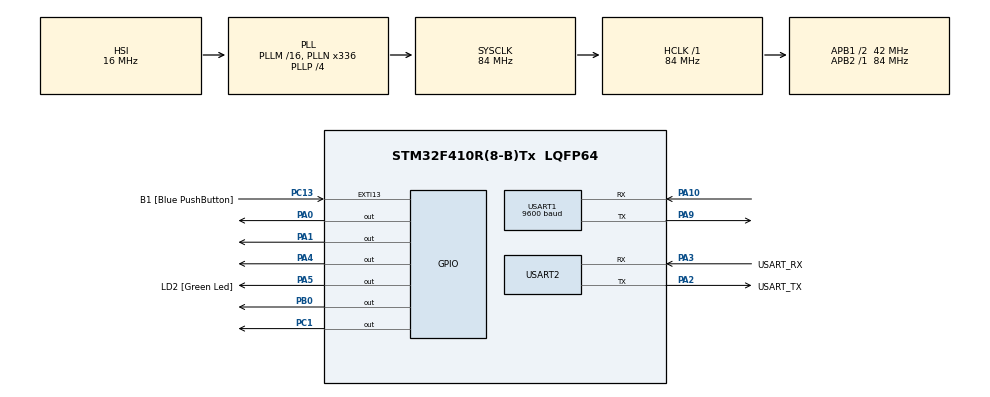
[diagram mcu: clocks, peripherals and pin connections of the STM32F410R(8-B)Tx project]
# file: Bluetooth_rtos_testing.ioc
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FREERTOS.Tasks01=defaultTask,0,128,StartDefaultTask,Default,NULL,Dynamic,NULL,NULL;Forward,-3,128,forward,Default,NULL,Dynamic,NULL,NULL;Right,-3,128,right,Default,NULL,Dynamic,NULL,NULL;Left,-3,128,left,Default,NULL,Dynamic,NULL,NULL;Back,-3,128,back,Default,NULL,Dynamic,NULL,NULL
FREERTOS.configUSE_NEWLIB_REENTRANT=1
Mcu.Family=STM32F4
Mcu.Name=STM32F410R(8-B)Tx
Mcu.Package=LQFP64
NVIC.PriorityGroup=NVIC_PRIORITYGROUP_4
NVIC.TIM5_IRQn=true\:15\:0\:false\:false\:true\:false\:false\:true\:true
NVIC.TimeBase=TIM5_IRQn
NVIC.TimeBaseIP=TIM5
NVIC.USART1_IRQn=true\:5\:0\:false\:false\:true\:true\:true\:true\:true
PA0-WKUP.Signal=GPIO_Output
PA1.Signal=GPIO_Output
PA10.Mode=Asynchronous
PA10.Signal=USART1_RX
PA13.GPIO_Label=TMS
PA13.Mode=Serial_Wire
PA13.Signal=SYS_JTMS-SWDIO
PA14.GPIO_Label=TCK
PA14.Mode=Serial_Wire
PA14.Signal=SYS_JTCK-SWCLK
PA2.GPIO_Label=USART_TX
PA2.Mode=Asynchronous
PA2.Signal=USART2_TX
PA3.GPIO_Label=USART_RX
PA3.Mode=Asynchronous
PA3.Signal=USART2_RX
PA4.Signal=GPIO_Output
PA5.GPIO_Label=LD2 [Green Led]
PA5.Signal=GPIO_Output
PA9.Mode=Asynchronous
PA9.Signal=USART1_TX
PB0.Signal=GPIO_Output
PB3.GPIO_Label=SWO
PB3.Signal=SYS_JTDO-SWO
PC1.Signal=GPIO_Output
PC13-ANTI_TAMP.GPIO_Label=B1 [Blue PushButton]
PC13-ANTI_TAMP.GPIO_ModeDefaultEXTI=GPIO_MODE_IT_FALLING
PC13-ANTI_TAMP.Signal=GPXTI13
PC14-OSC32_IN.Mode=LSE-External-Oscillator
PC14-OSC32_IN.Signal=RCC_OSC32_IN
PC15-OSC32_OUT.Mode=LSE-External-Oscillator
PC15-OSC32_OUT.Signal=RCC_OSC32_OUT
PH0\ -\ OSC_IN.Mode=HSE-External-Clock-Source
PH0\ -\ OSC_IN.Signal=RCC_OSC_IN
PH1\ -\ OSC_OUT.Mode=HSE-External-Clock-Source
PH1\ -\ OSC_OUT.Signal=RCC_OSC_OUT
ProjectManager.HeapSize=0x200
ProjectManager.StackSize=0x400
ProjectManager.TargetToolchain=STM32CubeIDE
RCC.48MHZClocksFreq_Value=84000000
RCC.AHBFreq_Value=84000000
RCC.APB1CLKDivider=RCC_HCLK_DIV2
RCC.APB1Freq_Value=42000000
RCC.APB1TimFreq_Value=84000000
RCC.APB2Freq_Value=84000000
RCC.APB2TimFreq_Value=84000000
RCC.CortexFreq_Value=84000000
RCC.FLatency-AdvancedSettings=FLASH_LATENCY_2
RCC.HCLKFreq_Value=84000000
RCC.HSE_VALUE=8000000
RCC.HSI_VALUE=16000000
RCC.PLLN=336
RCC.PLLP=RCC_PLLP_DIV4
RCC.SYSCLKFreq_VALUE=84000000
RCC.SYSCLKSource=RCC_SYSCLKSOURCE_PLLCLK
RCC.VCOOutputFreq_Value=336000000
USART1.BaudRate=9600
USART1.VirtualMode=VM_ASYNC
USART2.VirtualMode=VM_ASYNC
VP_FREERTOS_VS_CMSIS_V1.Mode=CMSIS_V1
VP_SYS_VS_tim5.Mode=TIM5
board=NUCLEO-F410RB

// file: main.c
/* USER CODE BEGIN Header */
/**
  ******************************************************************************
  * @file           : main.c
  * @brief          : Main program body
  ******************************************************************************
  * @attention
  *
  * Copyright (c) 2024 STMicroelectronics.
  * All rights reserved.
  *
  * This software is licensed under terms that can be found in the LICENSE file
  * in the root directory of this software component.
  * If no LICENSE file comes with this software, it is provided AS-IS.
  *
  ******************************************************************************
  */
/* USER CODE END Header */
#include "main.h"
#include "cmsis_os.h"
#define BUFFER_LEN 1

UART_HandleTypeDef huart1;
UART_HandleTypeDef huart2;

osThreadId defaultTaskHandle;
osThreadId ForwardHandle;
osThreadId RightHandle;
osThreadId LeftHandle;
osThreadId BackHandle;
/* USER CODE BEGIN PV */
uint8_t RX_BUFFER[BUFFER_LEN] = {0};
/* USER CODE END PV */

void SystemClock_Config(void);
static void MX_GPIO_Init(void);
static void MX_USART2_UART_Init(void);
static void MX_USART1_UART_Init(void);
void StartDefaultTask(void const * argument);
void forward(void const * argument);
void right(void const * argument);
void left(void const * argument);
void back(void const * argument);

/* USER CODE BEGIN PFP */
UART_HandleTypeDef huart1;

/* USER CODE END PFP */

int main(void)
{

  /* MCU Configuration--------------------------------------------------------*/

  /* Reset of all peripherals, Initializes the Flash interface and the Systick. */
  HAL_Init();

  /* Configure the system clock */
  SystemClock_Config();

  /* Initialize all configured peripherals */
  MX_GPIO_Init();
  MX_USART2_UART_Init();
  MX_USART1_UART_Init();
  /* USER CODE BEGIN 2 */
  HAL_UART_Receive_IT(&huart1, RX_BUFFER, BUFFER_LEN);
  /* USER CODE END 2 */

  /* Create the thread(s) */
  /* definition and creation of defaultTask */
  osThreadDef(defaultTask, StartDefaultTask, osPriorityIdle, 0, 128);
  defaultTaskHandle = osThreadCreate(osThread(defaultTask), NULL);

  /* definition and creation of Forward */
  osThreadDef(Forward, forward, osPriorityIdle, 0, 128);
  ForwardHandle = osThreadCreate(osThread(Forward), NULL);

  /* definition and creation of Right */
  osThreadDef(Right, right, osPriorityIdle, 0, 128);
  RightHandle = osThreadCreate(osThread(Right), NULL);

  /* definition and creation of Left */
  osThreadDef(Left, left, osPriorityIdle, 0, 128);
  LeftHandle = osThreadCreate(osThread(Left), NULL);

  /* definition and creation of Back */
  osThreadDef(Back, back, osPriorityIdle, 0, 128);
  BackHandle = osThreadCreate(osThread(Back), NULL);

  /* Start scheduler */
  osKernelStart();
  /* We should never get here as control is now taken by the scheduler */
  /* Infinite loop */
  while (1)
  {
	  if(RX_BUFFER[0] == 'F'){
		  vTaskPrioritySet(ForwardHandle, osPriorityHigh);
	  }
	  else if(RX_BUFFER[0] == 'L'){
		  vTaskPrioritySet(LeftHandle, osPriorityHigh);
	  }
	  else if(RX_BUFFER[0] == 'R'){
		  vTaskPrioritySet(RightHandle, osPriorityHigh);
	  }
	  else if(RX_BUFFER[0] == 'B'){
		  vTaskPrioritySet(BackHandle, osPriorityHigh);
	  }
	  else
		  vTaskPrioritySet(defaultTaskHandle, osPriorityHigh);
  }
}

void SystemClock_Config(void)
{
  RCC_OscInitTypeDef RCC_OscInitStruct = {0};
  RCC_ClkInitTypeDef RCC_ClkInitStruct = {0};

  /** Configure the main internal regulator output voltage
  */
  __HAL_RCC_PWR_CLK_ENABLE();
  __HAL_PWR_VOLTAGESCALING_CONFIG(PWR_REGULATOR_VOLTAGE_SCALE1);

  /** Initializes the RCC Oscillators according to the specified parameters
  * in the RCC_OscInitTypeDef structure.
  */
  RCC_OscInitStruct.OscillatorType = RCC_OSCILLATORTYPE_HSI;
  RCC_OscInitStruct.HSIState = RCC_HSI_ON;
  RCC_OscInitStruct.HSICalibrationValue = RCC_HSICALIBRATION_DEFAULT;
  RCC_OscInitStruct.PLL.PLLState = RCC_PLL_ON;
  RCC_OscInitStruct.PLL.PLLSource = RCC_PLLSOURCE_HSI;
  RCC_OscInitStruct.PLL.PLLM = 16;
  RCC_OscInitStruct.PLL.PLLN = 336;
  RCC_OscInitStruct.PLL.PLLP = RCC_PLLP_DIV4;
  RCC_OscInitStruct.PLL.PLLQ = 4;
  RCC_OscInitStruct.PLL.PLLR = 2;
  if (HAL_RCC_OscConfig(&RCC_OscInitStruct) != HAL_OK)
  {
    Error_Handler();
  }

  /** Initializes the CPU, AHB and APB buses clocks
  */
  RCC_ClkInitStruct.ClockType = RCC_CLOCKTYPE_HCLK|RCC_CLOCKTYPE_SYSCLK
                              |RCC_CLOCKTYPE_PCLK1|RCC_CLOCKTYPE_PCLK2;
  RCC_ClkInitStruct.SYSCLKSource = RCC_SYSCLKSOURCE_PLLCLK;
  RCC_ClkInitStruct.AHBCLKDivider = RCC_SYSCLK_DIV1;
  RCC_ClkInitStruct.APB1CLKDivider = RCC_HCLK_DIV2;
  RCC_ClkInitStruct.APB2CLKDivider = RCC_HCLK_DIV1;

  if (HAL_RCC_ClockConfig(&RCC_ClkInitStruct, FLASH_LATENCY_2) != HAL_OK)
  {
    Error_Handler();
  }
}

static void MX_USART1_UART_Init(void)
{

  huart1.Instance = USART1;
  huart1.Init.BaudRate = 9600;
  huart1.Init.WordLength = UART_WORDLENGTH_8B;
  huart1.Init.StopBits = UART_STOPBITS_1;
  huart1.Init.Parity = UART_PARITY_NONE;
  huart1.Init.Mode = UART_MODE_TX_RX;
  huart1.Init.HwFlowCtl = UART_HWCONTROL_NONE;
  huart1.Init.OverSampling = UART_OVERSAMPLING_16;
  if (HAL_UART_Init(&huart1) != HAL_OK)
  {
    Error_Handler();
  }

}

static void MX_USART2_UART_Init(void)
{

  huart2.Instance = USART2;
  huart2.Init.BaudRate = 115200;
  huart2.Init.WordLength = UART_WORDLENGTH_8B;
  huart2.Init.StopBits = UART_STOPBITS_1;
  huart2.Init.Parity = UART_PARITY_NONE;
  huart2.Init.Mode = UART_MODE_TX_RX;
  huart2.Init.HwFlowCtl = UART_HWCONTROL_NONE;
  huart2.Init.OverSampling = UART_OVERSAMPLING_16;
  if (HAL_UART_Init(&huart2) != HAL_OK)
  {
    Error_Handler();
  }

}

static void MX_GPIO_Init(void)
{
  GPIO_InitTypeDef GPIO_InitStruct = {0};

  /* GPIO Ports Clock Enable */
  __HAL_RCC_GPIOC_CLK_ENABLE();
  __HAL_RCC_GPIOH_CLK_ENABLE();
  __HAL_RCC_GPIOA_CLK_ENABLE();
  __HAL_RCC_GPIOB_CLK_ENABLE();

  /*Configure GPIO pin Output Level */
  HAL_GPIO_WritePin(GPIOC, GPIO_PIN_1, GPIO_PIN_RESET);

  /*Configure GPIO pin Output Level */
  HAL_GPIO_WritePin(GPIOA, GPIO_PIN_0|GPIO_PIN_1|GPIO_PIN_4|LD2_Pin, GPIO_PIN_RESET);

  /*Configure GPIO pin Output Level */
  HAL_GPIO_WritePin(GPIOB, GPIO_PIN_0, GPIO_PIN_RESET);

  /*Configure GPIO pin : B1_Pin */
  GPIO_InitStruct.Pin = B1_Pin;
  GPIO_InitStruct.Mode = GPIO_MODE_IT_FALLING;
  GPIO_InitStruct.Pull = GPIO_NOPULL;
  HAL_GPIO_Init(B1_GPIO_Port, &GPIO_InitStruct);

  /*Configure GPIO pin : PC1 */
  GPIO_InitStruct.Pin = GPIO_PIN_1;
  GPIO_InitStruct.Mode = GPIO_MODE_OUTPUT_PP;
  GPIO_InitStruct.Pull = GPIO_NOPULL;
  GPIO_InitStruct.Speed = GPIO_SPEED_FREQ_LOW;
  HAL_GPIO_Init(GPIOC, &GPIO_InitStruct);

  /*Configure GPIO pins : PA0 PA1 PA4 LD2_Pin */
  GPIO_InitStruct.Pin = GPIO_PIN_0|GPIO_PIN_1|GPIO_PIN_4|LD2_Pin;
  GPIO_InitStruct.Mode = GPIO_MODE_OUTPUT_PP;
  GPIO_InitStruct.Pull = GPIO_NOPULL;
  GPIO_InitStruct.Speed = GPIO_SPEED_FREQ_LOW;
  HAL_GPIO_Init(GPIOA, &GPIO_InitStruct);

  /*Configure GPIO pin : PB0 */
  GPIO_InitStruct.Pin = GPIO_PIN_0;
  GPIO_InitStruct.Mode = GPIO_MODE_OUTPUT_PP;
  GPIO_InitStruct.Pull = GPIO_NOPULL;
  GPIO_InitStruct.Speed = GPIO_SPEED_FREQ_LOW;
  HAL_GPIO_Init(GPIOB, &GPIO_InitStruct);

}

void StartDefaultTask(void const * argument)
{
  /* USER CODE BEGIN 5 */
  /* Infinite loop */
  for(;;)
  { if(RX_BUFFER[0] == 'W')
  {
      HAL_GPIO_WritePin(GPIOA, GPIO_PIN_0,GPIO_PIN_SET );
  }
  else if(RX_BUFFER[0] == 'w')
  {
      HAL_GPIO_WritePin(GPIOA, GPIO_PIN_0, GPIO_PIN_RESET);
  }
  HAL_GPIO_WritePin(GPIOA,GPIO_PIN_1,GPIO_PIN_RESET);
 	  HAL_GPIO_WritePin(GPIOA,GPIO_PIN_4,GPIO_PIN_RESET);
 	  HAL_GPIO_WritePin(GPIOB,GPIO_PIN_0,GPIO_PIN_RESET);
 	  HAL_GPIO_WritePin(GPIOC,GPIO_PIN_1,GPIO_PIN_RESET);
    osDelay(10);
  }
  /* USER CODE END 5 */
}

void forward(void const * argument)
{
  /* USER CODE BEGIN forward */
  /* Infinite loop */
  for(;;)
  {   if(RX_BUFFER[0] == 'F'){
	  HAL_GPIO_WritePin(GPIOA,GPIO_PIN_1,GPIO_PIN_RESET);
	  HAL_GPIO_WritePin(GPIOA,GPIO_PIN_4,GPIO_PIN_SET);
	  HAL_GPIO_WritePin(GPIOB,GPIO_PIN_0,GPIO_PIN_RESET);
	  HAL_GPIO_WritePin(GPIOC,GPIO_PIN_1,GPIO_PIN_SET);}

    osDelay(1);
  }
  /* USER CODE END forward */
}

void right(void const * argument)
{
  /* USER CODE BEGIN right */
  /* Infinite loop */
  for(;;)
  { if(RX_BUFFER[0] == 'R'){
	  HAL_GPIO_WritePin(GPIOB,GPIO_PIN_0,GPIO_PIN_RESET);
	 	  HAL_GPIO_WritePin(GPIOC,GPIO_PIN_1,GPIO_PIN_SET);}
    osDelay(1);
  }
  /* USER CODE END right */
}

void left(void const * argument)
{
  /* USER CODE BEGIN left */
  /* Infinite loop */
  for(;;)
  {if(RX_BUFFER[0] == 'L'){
	  HAL_GPIO_WritePin(GPIOA,GPIO_PIN_1,GPIO_PIN_RESET);
  HAL_GPIO_WritePin(GPIOA,GPIO_PIN_4,GPIO_PIN_SET);}
    osDelay(1);
  }
  /* USER CODE END left */
}

void back(void const * argument)
{
  /* USER CODE BEGIN back */
  /* Infinite loop */
  for(;;)
  {if(RX_BUFFER[0] == 'B'){
	  HAL_GPIO_WritePin(GPIOA,GPIO_PIN_1,GPIO_PIN_SET);
  HAL_GPIO_WritePin(GPIOA,GPIO_PIN_4,GPIO_PIN_RESET);
  HAL_GPIO_WritePin(GPIOB,GPIO_PIN_0,GPIO_PIN_SET);
  HAL_GPIO_WritePin(GPIOC,GPIO_PIN_1,GPIO_PIN_RESET);}
    osDelay(1);
  }
  /* USER CODE END back */
}
void HAL_UART_RxCpltCallback(UART_HandleTypeDef *huart)
	  {
	      if(huart->Instance == huart1.Instance)
	      {
	      HAL_UART_Receive_IT(&huart1, RX_BUFFER, BUFFER_LEN);
	      printf("Received command: %c\n", RX_BUFFER[0]);
	      }
	  }
void HAL_TIM_PeriodElapsedCallback(TIM_HandleTypeDef *htim)
{
  if (htim->Instance == TIM5) {
    HAL_IncTick();
  }
}

void Error_Handler(void)
{
  __disable_irq();
  while (1)
  {
  }
}
